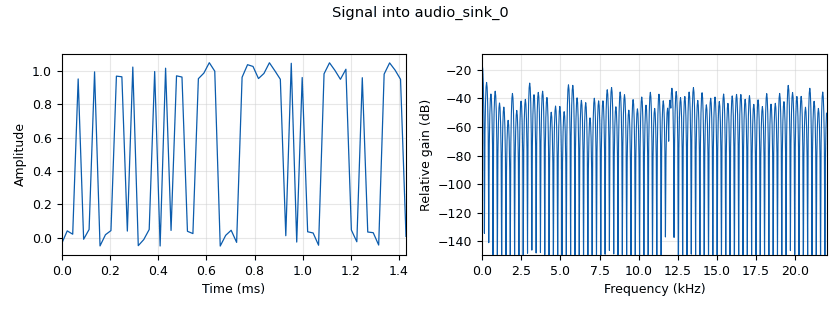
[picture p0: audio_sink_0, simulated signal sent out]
options:
  parameters:
    generate_options: qt_gui
    id: sound_test_with_chirp
    output_language: python
    title: Sound test with chirp
  states: {}

blocks:
- name: access_key
  id: variable
  parameters:
    value: '''11100001010110101110100010010011'''
  states: {}
- name: hdr_format
  id: variable
  parameters:
    comment: header_format_default
    value: digital.header_format_default(access_key, 0)
  states: {}
- name: samp_rate
  id: variable
  parameters:
    value: '44100'
  states: {}
- name: sine_freq
  id: variable_qtgui_range
  parameters:
    start: '10'
    step: '10'
    stop: '20000'
    value: '12000'
  states: {}
- name: analog_sig_source_x_0
  id: analog_sig_source_x
  parameters:
    amp: '0.05'
    freq: sine_freq
    offset: '0'
    phase: '0'
    samp_rate: samp_rate
    type: float
    waveform: analog.GR_SIN_WAVE
  states: {}
- name: audio_sink_0
  id: audio_sink
  parameters:
    samp_rate: samp_rate
  states: {}
- name: audio_source_0
  id: audio_source
  parameters:
    samp_rate: samp_rate
  states: {}
- name: blocks_add_xx_0
  id: blocks_add_xx
  parameters:
    type: float
  states: {}
- name: blocks_message_strobe_0
  id: blocks_message_strobe
  parameters:
    msg: pmt.cons(pmt.make_dict(), pmt.init_u8vector(8, [0x12, 0x34, 0x56, 0x78]*2))
    period: '1000'
  states: {}
- name: blocks_repack_bits_bb_1_0
  id: blocks_repack_bits_bb
  parameters:
    endianness: gr.GR_MSB_FIRST
    k: '8'
    l: '1'
    len_tag_key: ''
  states: {}
- name: blocks_tagged_stream_mux_0_0
  id: blocks_tagged_stream_mux
  parameters:
    lengthtagname: packet_len
    ninputs: '2'
    type: byte
  states: {}
- name: blocks_uchar_to_float_0
  id: blocks_uchar_to_float
  parameters: {}
  states: {}
- name: digital_crc_append_0
  id: digital_crc_append
  parameters:
    poly: '0x4C11DB7'
  states: {}
- name: digital_protocol_formatter_async_0
  id: digital_protocol_formatter_async
  parameters:
    format: hdr_format
  states: {}
- name: import_0
  id: import
  parameters:
    imports: import math
  states: {}
- name: pdu_pdu_to_tagged_stream_0
  id: pdu_pdu_to_tagged_stream
  parameters:
    comment: Header
    tag: packet_len
    type: byte
  states: {}
- name: pdu_pdu_to_tagged_stream_0_0
  id: pdu_pdu_to_tagged_stream
  parameters:
    comment: Payload
    tag: packet_len
    type: byte
  states: {}
- name: qtgui_time_sink_x_0
  id: qtgui_time_sink_x
  parameters:
    autoscale: 'True'
    ctrlpanel: 'True'
    label1: Output Sine
    label2: Input Sine
    nconnections: '2'
    size: '1024'
    srate: samp_rate
    type: float
  states: {}
- name: virtual_sink_1
  id: virtual_sink
  parameters:
    stream_id: alice_data
  states: {}
- name: virtual_source_1
  id: virtual_source
  parameters:
    stream_id: alice_data
  states: {}

connections:
- [analog_sig_source_x_0, '0', blocks_add_xx_0, '0']
- [audio_source_0, '0', qtgui_time_sink_x_0, '1']
- [blocks_add_xx_0, '0', audio_sink_0, '0']
- [blocks_add_xx_0, '0', qtgui_time_sink_x_0, '0']
- [blocks_message_strobe_0, strobe, digital_crc_append_0, in]
- [blocks_repack_bits_bb_1_0, '0', blocks_uchar_to_float_0, '0']
- [blocks_tagged_stream_mux_0_0, '0', virtual_sink_1, '0']
- [blocks_uchar_to_float_0, '0', blocks_add_xx_0, '1']
- [digital_crc_append_0, out, digital_protocol_formatter_async_0, in]
- [digital_protocol_formatter_async_0, header, pdu_pdu_to_tagged_stream_0, pdus]
- [digital_protocol_formatter_async_0, payload, pdu_pdu_to_tagged_stream_0_0, pdus]
- [pdu_pdu_to_tagged_stream_0, '0', blocks_tagged_stream_mux_0_0, '0']
- [pdu_pdu_to_tagged_stream_0_0, '0', blocks_tagged_stream_mux_0_0, '1']
- [virtual_source_1, '0', blocks_repack_bits_bb_1_0, '0']

metadata:
  file_format: 1
  grc_version: 3.10.9.2
